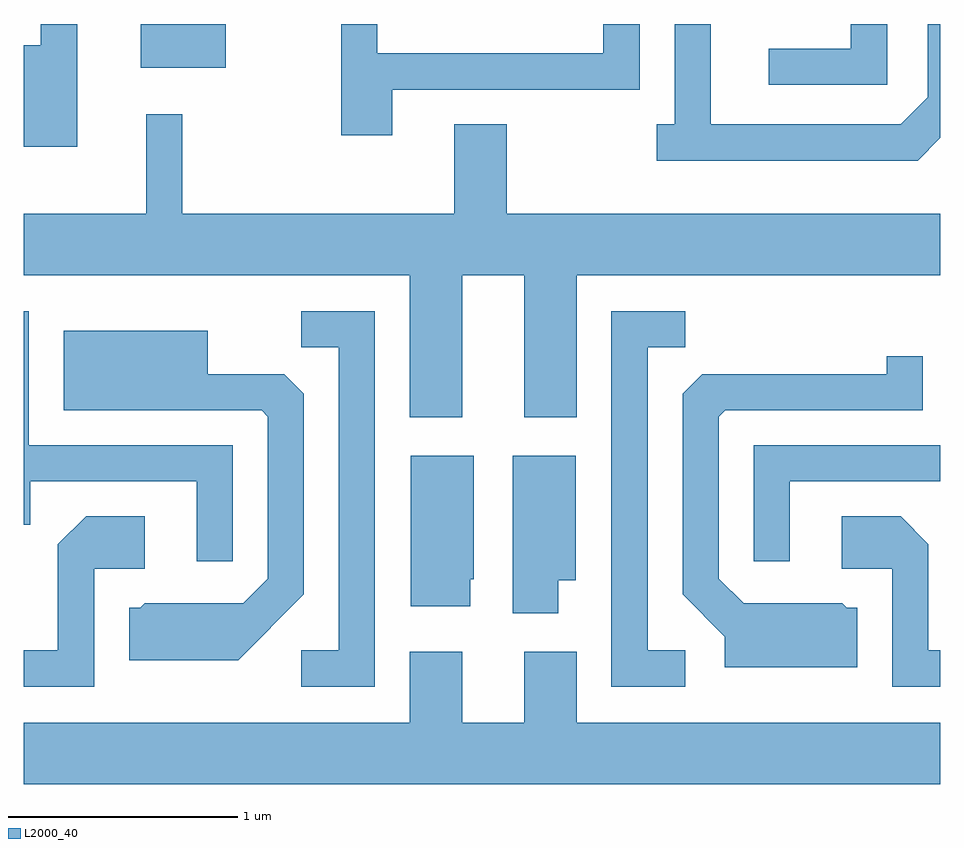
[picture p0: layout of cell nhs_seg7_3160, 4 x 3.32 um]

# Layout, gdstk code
import gdstk
lib = gdstk.Library(unit=1e-6, precision=1e-09)
def R(c, l, rs):  # rectangles x0, y0, x1, y1
    for r in rs: c.add(gdstk.rectangle(r[:2], r[2:], *l))
def P(c, l, *ps):  # polygons
    for p in ps: c.add(gdstk.Polygon(p, *l))
L2000_40 = (2000, 40)

nhs_seg7_3160 = lib.new_cell('nhs_seg7_3160')
R(nhs_seg7_3160, L2000_40, [(282.121,1764.061,282.494,1764.252)])
P(nhs_seg7_3160, L2000_40, [(285.611,1763.755),(285.611,1764.252),(285.556,1764.252),(285.556,1763.932),(285.439,1763.814),(284.609,1763.814),(284.609,1764.252),(284.451,1764.252),(284.451,1763.814),(284.373,1763.814),(284.373,1763.656),(285.512,1763.656)],
  [(285.379,1764.252),(285.221,1764.252),(285.221,1764.144),(284.863,1764.144),(284.863,1763.986),(285.379,1763.986)],
  [(283.219,1763.966),(284.299,1763.966),(284.299,1764.252),(284.141,1764.252),(284.141,1764.124),(283.154,1764.124),(283.154,1764.252),(282.996,1764.252),(282.996,1763.766),(283.219,1763.766)],
  [(281.844,1764.252),(281.686,1764.252),(281.686,1764.159),(281.611,1764.159),(281.611,1763.716),(281.844,1763.716)],
  [(283.524,1763.156),(283.796,1763.156),(283.796,1762.536),(284.024,1762.536),(284.024,1763.156),(285.611,1763.156),(285.611,1763.424),(283.719,1763.424),(283.719,1763.814),(283.491,1763.814),(283.491,1763.424),(282.304,1763.424),(282.304,1763.858),(282.146,1763.858),(282.146,1763.424),(281.611,1763.424),(281.611,1763.156),(283.296,1763.156),(283.296,1762.536),(283.524,1762.536)],
  [(282.524,1762.414),(281.634,1762.414),(281.634,1762.999),(281.611,1762.999),(281.611,1762.068),(281.639,1762.068),(281.639,1762.256),(282.366,1762.256),(282.366,1761.908),(282.524,1761.908)],
  [(283.144,1762.999),(282.823,1762.999),(282.823,1762.841),(282.986,1762.841),(282.986,1761.519),(282.823,1761.519),(282.823,1761.361),(283.144,1761.361)],
  [(284.498,1761.519),(284.334,1761.519),(284.334,1762.841),(284.498,1762.841),(284.498,1762.999),(284.176,1762.999),(284.176,1761.361),(284.498,1761.361)],
  [(282.834,1761.764),(282.834,1762.639),(282.749,1762.724),(282.414,1762.724),(282.414,1762.914),(281.786,1762.914),(281.786,1762.566),(282.649,1762.566),(282.676,1762.539),(282.676,1761.832),(282.569,1761.724),(282.139,1761.724),(282.119,1761.704),(282.071,1761.704),(282.071,1761.476),(282.547,1761.476)],
  [(285.249,1761.704),(285.202,1761.704),(285.182,1761.724),(284.752,1761.724),(284.644,1761.832),(284.644,1762.539),(284.672,1762.566),(285.534,1762.566),(285.534,1762.803),(285.376,1762.803),(285.376,1762.724),(284.572,1762.724),(284.486,1762.639),(284.486,1761.764),(284.671,1761.579),(284.671,1761.446),(285.249,1761.446)],
  [(284.954,1762.256),(285.611,1762.256),(285.611,1762.414),(284.796,1762.414),(284.796,1761.908),(284.954,1761.908)],
  [(283.559,1761.83),(283.574,1761.83),(283.574,1762.369),(283.301,1762.369),(283.301,1761.711),(283.559,1761.711)],
  [(283.944,1761.826),(284.019,1761.826),(284.019,1762.369),(283.746,1762.369),(283.746,1761.681),(283.944,1761.681)],
  [(285.611,1761.519),(285.559,1761.519),(285.559,1761.982),(285.437,1762.104),(285.181,1762.104),(285.181,1761.876),(285.401,1761.876),(285.401,1761.361),(285.611,1761.361)],
  [(281.919,1761.876),(282.139,1761.876),(282.139,1762.104),(281.884,1762.104),(281.761,1761.982),(281.761,1761.519),(281.611,1761.519),(281.611,1761.361),(281.919,1761.361)],
  [(285.611,1761.204),(284.024,1761.204),(284.024,1761.514),(283.796,1761.514),(283.796,1761.204),(283.524,1761.204),(283.524,1761.514),(283.296,1761.514),(283.296,1761.204),(281.611,1761.204),(281.611,1760.936),(285.611,1760.936)])

lib.write_gds('nhs_seg7_3160.gds')
